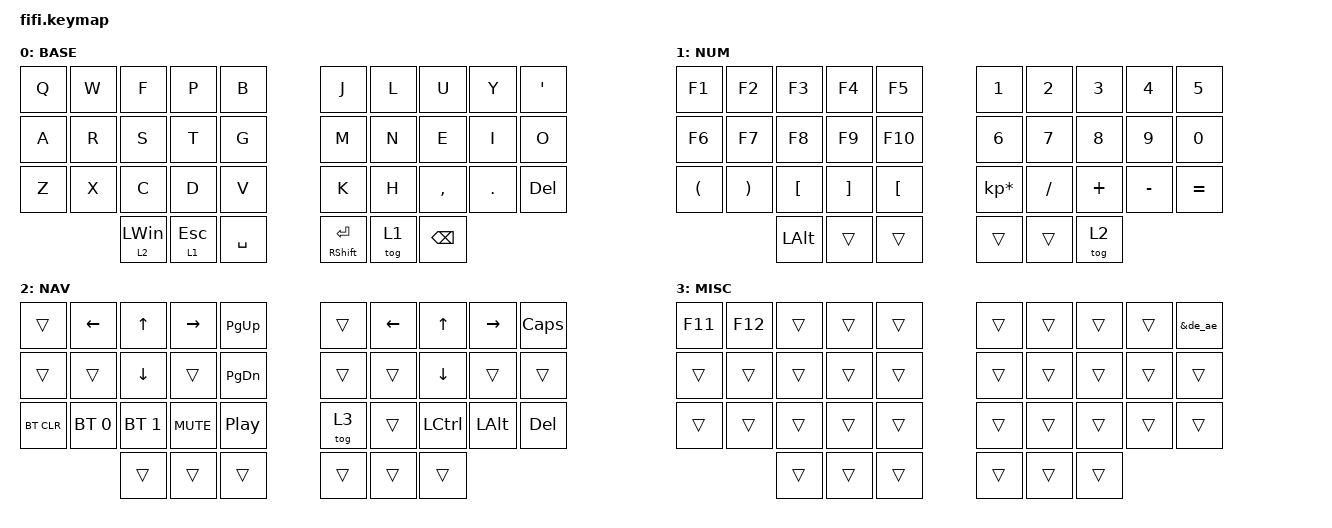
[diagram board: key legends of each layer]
/*
 * Copyright (c) 2020 The ZMK Contributors
 *
 * SPDX-License-Identifier: MIT
 */
 

#include <behaviors.dtsi>
#include <dt-bindings/zmk/keys.h>
#include <dt-bindings/zmk/bt.h>

#define HOST_OS 2
#include "../zmk-nodefree-config-main/helper.h"
#include "../zmk-nodefree-config-main/keypos_def/keypos_36keys.h"
#include "../zmk-nodefree-config-main/international_chars/german.dtsi"


#define DEFAULT 0
#define NUM     1
#define NAV     2


&mt {
    tapping-term-ms = <150>;
    flavor = "tap-preferred";
};


/ {
    behaviors {
        hm: homerow_mods {
            compatible = "zmk,behavior-hold-tap";
            label = "homerow mods";
            #binding-cells = <2>;
            tapping_term_ms = <200>;
            quick-tap-ms = <0>;
            flavor = "tap-preferred";
            bindings =
                <&kp>,
                <&kp>;
        };
    };

    combos {
        compatible = "zmk,combos";

        new_combo {
            bindings = <&kp LEFT_ALT &kp N0 &kp N2 &kp N2 &kp N3>;
            key-positions = <12 9>;
        };
    };

    keymap {
        compatible = "zmk,keymap";

        BASE {
            label = "BASE";

            // -----------------------------------------------------------------------------------------
            //   Q  |  W  |  E  |  R  |  T  |   |  Y  |  U   |  I  |  O  |  P  
            //    ALT/A  | CTRL/S  | Win/D  | SHF/F  | Num G  |   |  H  |  J   |  K  |  L  |  ;  
            //     Z  |  X  |  C  |  V  |  B  |   |  N  |  M   |  ,  |  .  |  /  
            //               | DEL  | NUM | SHF/SPC |   | SHF/ENT | NAV/TAB | ESC  |

            bindings = <
  &kp Q   &kp W           &kp F      &kp P      &kp B          &kp J   &kp L      &kp U    &kp Y  &kp SINGLE_QUOTE
  &kp A   &kp R           &kp S      &kp T      &kp G          &kp M   &kp N      &kp E    &kp I             &kp O
  &kp Z   &kp X           &kp C      &kp D      &kp V          &kp K   &kp H  &kp COMMA  &kp DOT        &kp DELETE
                 &lt 2 LEFT_WIN  &lt 1 ESC  &kp SPACE  &mt RSHFT RET  &tog 1   &kp BSPC
            >;
        };

        NUM {
            label = "NUM";

            // -----------------------------------------------------------------------------------------
            //  F1  | F2  | F3  | F4  | F5  |   | F6  | F7  | F8  | F9  | F10 |
            //   1   |  2  |  3  |  4  |  5  |   |  6  |  7  |  8  |  9  |  0  |
            //    F11 | F12 |  [  |  ]  |   ; |   |  '   |  -  |  =  |  \  |   
            //                    |     |     |     |   |     |     |     |

            bindings = <
               &kp F1                 &kp F2            &kp F3             &kp F4            &kp F5           &kp N1    &kp N2    &kp N3     &kp N4     &kp N5
               &kp F6                 &kp F7            &kp F8             &kp F9           &kp F10           &kp N6    &kp N7    &kp N8     &kp N9     &kp N0
 &kp LEFT_PARENTHESIS  &kp RIGHT_PARENTHESIS  &kp LEFT_BRACKET  &kp RIGHT_BRACKET  &kp LEFT_BRACKET  &kp KP_ASTERISK  &kp FSLH  &kp PLUS  &kp MINUS  &kp EQUAL
                                                  &kp LEFT_ALT             &trans            &trans           &trans    &trans    &tog 2
            >;
        };

        NAV {
            label = "NAV";

            // -----------------------------------------------------------------------------------------
            // |      |     | BACK| HOME| PGUP|     |   |     |     |     |  UP    |     |      |
            //  |      |     | FWD | END | PGDN|     |   |     |     |  LT |  DN    |  RT |      |
            //   | BTCLR| BT1 | BT2 | MUTE| P/P |     |   |     |     |     |     |     |      |
            //                    |     |     |     |   |     |     |     |

            bindings = <
     &trans      &kp LEFT        &kp UP   &kp RIGHT  &kp PG_UP  &trans  &kp LEFT     &kp UP  &kp RIGHT    &kp CAPS
     &trans        &trans      &kp DOWN      &trans  &kp PG_DN  &trans    &trans   &kp DOWN     &trans      &trans
 &bt BT_CLR  &bt BT_SEL 0  &bt BT_SEL 1  &kp C_MUTE   &kp C_PP  &tog 3    &trans  &kp LCTRL   &kp LALT  &kp DELETE
                                 &trans      &trans     &trans  &trans    &trans     &trans
            >;
        };
        

        MISC {
            bindings = <
 &kp F11  &kp F12  &trans  &trans  &trans  &trans  &trans  &trans  &trans  &&de_ae
  &trans   &trans  &trans  &trans  &trans  &trans  &trans  &trans  &trans  &trans
  &trans   &trans  &trans  &trans  &trans  &trans  &trans  &trans  &trans  &trans
                   &trans  &trans  &trans  &trans  &trans  &trans
            >;
        };
    };
};
